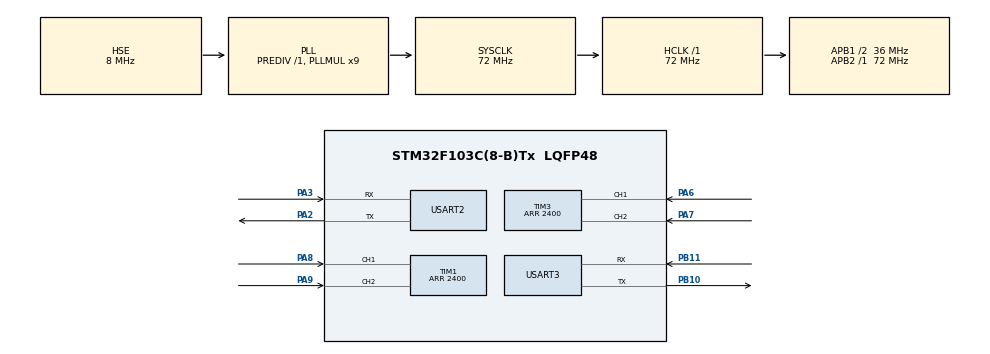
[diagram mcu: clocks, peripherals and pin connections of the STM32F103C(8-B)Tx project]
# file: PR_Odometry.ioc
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Mcu.Family=STM32F1
Mcu.Name=STM32F103C(8-B)Tx
Mcu.Package=LQFP48
NVIC.PriorityGroup=NVIC_PRIORITYGROUP_4
PA13.Mode=Serial_Wire
PA13.Signal=SYS_JTMS-SWDIO
PA14.Mode=Serial_Wire
PA14.Signal=SYS_JTCK-SWCLK
PA2.Mode=Asynchronous
PA2.Signal=USART2_TX
PA3.Mode=Asynchronous
PA3.Signal=USART2_RX
PA6.Signal=S_TIM3_CH1
PA7.Signal=S_TIM3_CH2
PA8.Signal=S_TIM1_CH1
PA9.Signal=S_TIM1_CH2
PB10.Mode=Asynchronous
PB10.Signal=USART3_TX
PB11.Mode=Asynchronous
PB11.Signal=USART3_RX
PD0-OSC_IN.Mode=HSE-External-Oscillator
PD0-OSC_IN.Signal=RCC_OSC_IN
PD1-OSC_OUT.Mode=HSE-External-Oscillator
PD1-OSC_OUT.Signal=RCC_OSC_OUT
ProjectManager.HeapSize=0x200
ProjectManager.StackSize=0x400
ProjectManager.TargetToolchain=STM32CubeIDE
RCC.AHBFreq_Value=72000000
RCC.APB1CLKDivider=RCC_HCLK_DIV2
RCC.APB1Freq_Value=36000000
RCC.APB1TimFreq_Value=72000000
RCC.APB2Freq_Value=72000000
RCC.APB2TimFreq_Value=72000000
RCC.HCLKFreq_Value=72000000
RCC.PLLMUL=RCC_PLL_MUL9
RCC.PLLSourceVirtual=RCC_PLLSOURCE_HSE
RCC.SYSCLKFreq_VALUE=72000000
RCC.SYSCLKSource=RCC_SYSCLKSOURCE_PLLCLK
RCC.USBFreq_Value=72000000
SH.S_TIM1_CH1.0=TIM1_CH1,Encoder_Interface
SH.S_TIM1_CH2.0=TIM1_CH2,Encoder_Interface
SH.S_TIM3_CH1.0=TIM3_CH1,Encoder_Interface
SH.S_TIM3_CH2.0=TIM3_CH2,Encoder_Interface
TIM1.AutoReloadPreload=TIM_AUTORELOAD_PRELOAD_ENABLE
TIM1.EncoderMode=TIM_ENCODERMODE_TI12
TIM1.Period=2400
TIM3.AutoReloadPreload=TIM_AUTORELOAD_PRELOAD_ENABLE
TIM3.EncoderMode=TIM_ENCODERMODE_TI12
TIM3.Period=2400
USART2.VirtualMode=VM_ASYNC
USART3.VirtualMode=VM_ASYNC
board=custom

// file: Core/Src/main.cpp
/* USER CODE BEGIN Header */
/**
  ******************************************************************************
  * @file           : main.c
  * @brief          : Main program body
  ******************************************************************************
  * @attention
  *
  * Copyright (c) 2024 STMicroelectronics.
  * All rights reserved.
  *
  * This software is licensed under terms that can be found in the LICENSE file
  * in the root directory of this software component.
  * If no LICENSE file comes with this software, it is provided AS-IS.
  *
  ******************************************************************************
  */
/* USER CODE END Header */
#include "main.h"

/* USER CODE BEGIN Includes */
#include "encoder.h"
//#include "odometry.h"
#include <cmath>
#include "GY_25.h"
#include <cstdio>
#include <cstring>
#include <string.h>
/* USER CODE END Includes */

TIM_HandleTypeDef htim1;
TIM_HandleTypeDef htim3;

UART_HandleTypeDef huart2;
UART_HandleTypeDef huart3;

void SystemClock_Config(void);
static void MX_GPIO_Init(void);
static void MX_TIM1_Init(void);
static void MX_TIM3_Init(void);
static void MX_USART2_UART_Init(void);
static void MX_USART3_UART_Init(void);

/* USER CODE BEGIN 0 */

float x_velocity;
float y_velocity;
float omega;

// variables for odometry output
float x_position = 0.0;
float y_position = 0.0;
float theta = 0.0;

// variables for odometry calculations
float encoder_x_offset = -0.125;  // in meters
float encoder_y_offset = -0.125;  // in meters

float last_theta;
float last_encoder_x;
float last_encoder_y;

float current_theta;
float current_encoder_x;
float current_encoder_y;

float delta_theta;
float delta_x;
float delta_y;

//
//float vx_value, vy_value, vz_value;
float x_value,y_value,z_value;
//float distanceX;
//float distanceY;
//float countX;
//float countY;

uint8_t data[14] = {1, 0, 0, 0, 0, 0, 0, 0, 0, 0, 0, 0, 0, 4};
float raw_data[3];

/* USER CODE END 0 */

int main(void)
{

  /* USER CODE BEGIN 1 */
	GY_25 imu(huart2);
	Encoder encoder_x(&htim1, 600, 0.058, ENCODER_UNITS.METER);
	Encoder encoder_y(&htim3, 600, 0.058, ENCODER_UNITS.METER);
   // Odometry robotOdometry(encoder_x, encoder_y, imu, 0.125, 0.125);
  /* USER CODE END 1 */

  /* MCU Configuration--------------------------------------------------------*/

  /* Reset of all peripherals, Initializes the Flash interface and the Systick. */
  HAL_Init();

  /* Configure the system clock */
  SystemClock_Config();

  /* Initialize all configured peripherals */
  MX_GPIO_Init();
  MX_TIM1_Init();
  MX_TIM3_Init();
  MX_USART2_UART_Init();
  MX_USART3_UART_Init();
  /* USER CODE BEGIN 2 */
  encoder_x.init();
  encoder_y.init();

  /* USER CODE END 2 */

  /* Infinite loop */
  while (1)
  {

    /* USER CODE BEGIN 3 */
	imu.update_counts();
	imu.update_angles();

	float raw_theta = imu.x_angle;
	current_theta = raw_theta * 2 * M_PI / 360.0;

	encoder_x.update();
	encoder_y.update();

	last_encoder_x = current_encoder_x;
	last_encoder_y = current_encoder_y;
	last_theta = theta;

	current_encoder_x = encoder_x.getDistance(ENCODER_UNITS.METER);
	current_encoder_y = encoder_y.getDistance(ENCODER_UNITS.METER);

	delta_theta = current_theta - last_theta;
	delta_x = current_encoder_x - last_encoder_x;
	delta_y = current_encoder_y - last_encoder_y;

	float delta_position_x = delta_x + (delta_theta * encoder_x_offset);
	float delta_position_y = delta_y - (delta_theta * encoder_y_offset);

	x_position += cos(theta) * delta_position_x - sin(theta) * delta_position_y;
	y_position += sin(theta) * delta_position_x + cos(theta) * delta_position_y;
	theta = current_theta;

	raw_data[0] = x_position;
	raw_data[1] = y_position;
	raw_data[2] = theta;

	memcpy(data+1, raw_data, sizeof(raw_data));

	HAL_UART_Transmit(&huart3, data, sizeof(data), HAL_MAX_DELAY);
  }
  /* USER CODE END 3 */
}

void SystemClock_Config(void)
{
  RCC_OscInitTypeDef RCC_OscInitStruct = {0};
  RCC_ClkInitTypeDef RCC_ClkInitStruct = {0};

  /** Initializes the RCC Oscillators according to the specified parameters
  * in the RCC_OscInitTypeDef structure.
  */
  RCC_OscInitStruct.OscillatorType = RCC_OSCILLATORTYPE_HSE;
  RCC_OscInitStruct.HSEState = RCC_HSE_ON;
  RCC_OscInitStruct.HSEPredivValue = RCC_HSE_PREDIV_DIV1;
  RCC_OscInitStruct.HSIState = RCC_HSI_ON;
  RCC_OscInitStruct.PLL.PLLState = RCC_PLL_ON;
  RCC_OscInitStruct.PLL.PLLSource = RCC_PLLSOURCE_HSE;
  RCC_OscInitStruct.PLL.PLLMUL = RCC_PLL_MUL9;
  if (HAL_RCC_OscConfig(&RCC_OscInitStruct) != HAL_OK)
  {
    Error_Handler();
  }

  /** Initializes the CPU, AHB and APB buses clocks
  */
  RCC_ClkInitStruct.ClockType = RCC_CLOCKTYPE_HCLK|RCC_CLOCKTYPE_SYSCLK
                              |RCC_CLOCKTYPE_PCLK1|RCC_CLOCKTYPE_PCLK2;
  RCC_ClkInitStruct.SYSCLKSource = RCC_SYSCLKSOURCE_PLLCLK;
  RCC_ClkInitStruct.AHBCLKDivider = RCC_SYSCLK_DIV1;
  RCC_ClkInitStruct.APB1CLKDivider = RCC_HCLK_DIV2;
  RCC_ClkInitStruct.APB2CLKDivider = RCC_HCLK_DIV1;

  if (HAL_RCC_ClockConfig(&RCC_ClkInitStruct, FLASH_LATENCY_2) != HAL_OK)
  {
    Error_Handler();
  }
}

static void MX_TIM1_Init(void)
{

  TIM_Encoder_InitTypeDef sConfig = {0};
  TIM_MasterConfigTypeDef sMasterConfig = {0};

  htim1.Instance = TIM1;
  htim1.Init.Prescaler = 0;
  htim1.Init.CounterMode = TIM_COUNTERMODE_UP;
  htim1.Init.Period = 2400;
  htim1.Init.ClockDivision = TIM_CLOCKDIVISION_DIV1;
  htim1.Init.RepetitionCounter = 0;
  htim1.Init.AutoReloadPreload = TIM_AUTORELOAD_PRELOAD_ENABLE;
  sConfig.EncoderMode = TIM_ENCODERMODE_TI12;
  sConfig.IC1Polarity = TIM_ICPOLARITY_RISING;
  sConfig.IC1Selection = TIM_ICSELECTION_DIRECTTI;
  sConfig.IC1Prescaler = TIM_ICPSC_DIV1;
  sConfig.IC1Filter = 0;
  sConfig.IC2Polarity = TIM_ICPOLARITY_RISING;
  sConfig.IC2Selection = TIM_ICSELECTION_DIRECTTI;
  sConfig.IC2Prescaler = TIM_ICPSC_DIV1;
  sConfig.IC2Filter = 0;
  if (HAL_TIM_Encoder_Init(&htim1, &sConfig) != HAL_OK)
  {
    Error_Handler();
  }
  sMasterConfig.MasterOutputTrigger = TIM_TRGO_RESET;
  sMasterConfig.MasterSlaveMode = TIM_MASTERSLAVEMODE_DISABLE;
  if (HAL_TIMEx_MasterConfigSynchronization(&htim1, &sMasterConfig) != HAL_OK)
  {
    Error_Handler();
  }

}

static void MX_TIM3_Init(void)
{

  TIM_Encoder_InitTypeDef sConfig = {0};
  TIM_MasterConfigTypeDef sMasterConfig = {0};

  htim3.Instance = TIM3;
  htim3.Init.Prescaler = 0;
  htim3.Init.CounterMode = TIM_COUNTERMODE_UP;
  htim3.Init.Period = 2400;
  htim3.Init.ClockDivision = TIM_CLOCKDIVISION_DIV1;
  htim3.Init.AutoReloadPreload = TIM_AUTORELOAD_PRELOAD_ENABLE;
  sConfig.EncoderMode = TIM_ENCODERMODE_TI12;
  sConfig.IC1Polarity = TIM_ICPOLARITY_RISING;
  sConfig.IC1Selection = TIM_ICSELECTION_DIRECTTI;
  sConfig.IC1Prescaler = TIM_ICPSC_DIV1;
  sConfig.IC1Filter = 0;
  sConfig.IC2Polarity = TIM_ICPOLARITY_RISING;
  sConfig.IC2Selection = TIM_ICSELECTION_DIRECTTI;
  sConfig.IC2Prescaler = TIM_ICPSC_DIV1;
  sConfig.IC2Filter = 0;
  if (HAL_TIM_Encoder_Init(&htim3, &sConfig) != HAL_OK)
  {
    Error_Handler();
  }
  sMasterConfig.MasterOutputTrigger = TIM_TRGO_RESET;
  sMasterConfig.MasterSlaveMode = TIM_MASTERSLAVEMODE_DISABLE;
  if (HAL_TIMEx_MasterConfigSynchronization(&htim3, &sMasterConfig) != HAL_OK)
  {
    Error_Handler();
  }

}

static void MX_USART2_UART_Init(void)
{

  huart2.Instance = USART2;
  huart2.Init.BaudRate = 115200;
  huart2.Init.WordLength = UART_WORDLENGTH_8B;
  huart2.Init.StopBits = UART_STOPBITS_1;
  huart2.Init.Parity = UART_PARITY_NONE;
  huart2.Init.Mode = UART_MODE_TX_RX;
  huart2.Init.HwFlowCtl = UART_HWCONTROL_NONE;
  huart2.Init.OverSampling = UART_OVERSAMPLING_16;
  if (HAL_UART_Init(&huart2) != HAL_OK)
  {
    Error_Handler();
  }

}

static void MX_USART3_UART_Init(void)
{

  huart3.Instance = USART3;
  huart3.Init.BaudRate = 115200;
  huart3.Init.WordLength = UART_WORDLENGTH_8B;
  huart3.Init.StopBits = UART_STOPBITS_1;
  huart3.Init.Parity = UART_PARITY_NONE;
  huart3.Init.Mode = UART_MODE_TX_RX;
  huart3.Init.HwFlowCtl = UART_HWCONTROL_NONE;
  huart3.Init.OverSampling = UART_OVERSAMPLING_16;
  if (HAL_UART_Init(&huart3) != HAL_OK)
  {
    Error_Handler();
  }

}

static void MX_GPIO_Init(void)
{

  /* GPIO Ports Clock Enable */
  __HAL_RCC_GPIOD_CLK_ENABLE();
  __HAL_RCC_GPIOA_CLK_ENABLE();
  __HAL_RCC_GPIOB_CLK_ENABLE();

}

void Error_Handler(void)
{
  __disable_irq();
  while (1)
  {
  }
}
